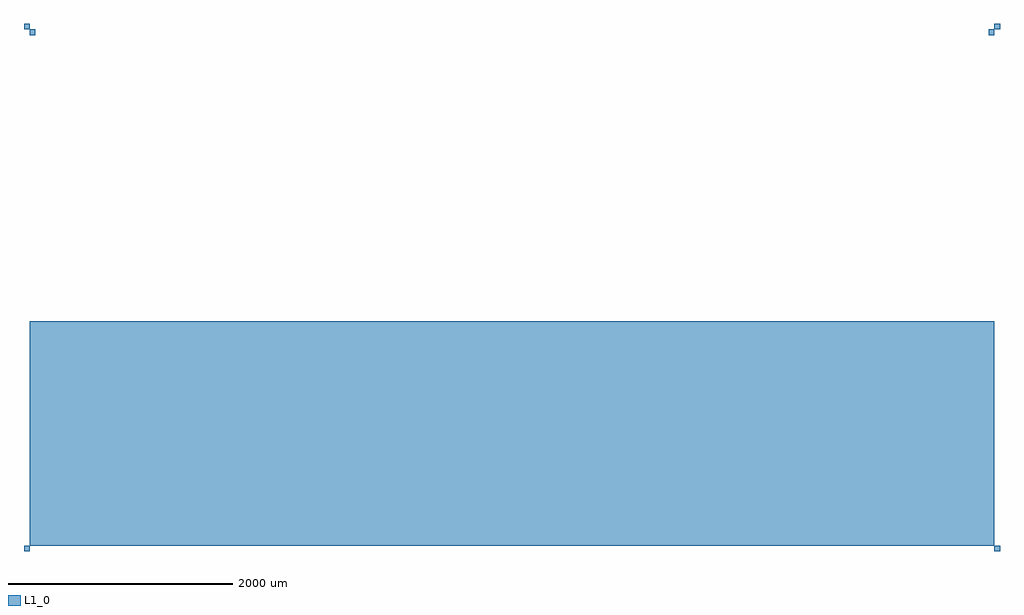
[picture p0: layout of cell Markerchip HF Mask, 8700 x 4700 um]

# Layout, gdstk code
import gdstk
lib = gdstk.Library(unit=1e-6, precision=1e-09)
def R(c, l, rs):  # rectangles x0, y0, x1, y1
    for r in rs: c.add(gdstk.rectangle(r[:2], r[2:], *l))
L1_0 = (1, 0)

markerchip_hf_mask = lib.new_cell('Markerchip HF Mask')
R(markerchip_hf_mask, L1_0, [(150,150,200,200), (8800,150,8850,200), (200,200,8800,2200), (200,4750,250,4800), (8750,4750,8800,4800), (150,4800,200,4850), (8800,4800,8850,4850)])

lib.write_gds('Markerchip_HF_Mask.gds')
